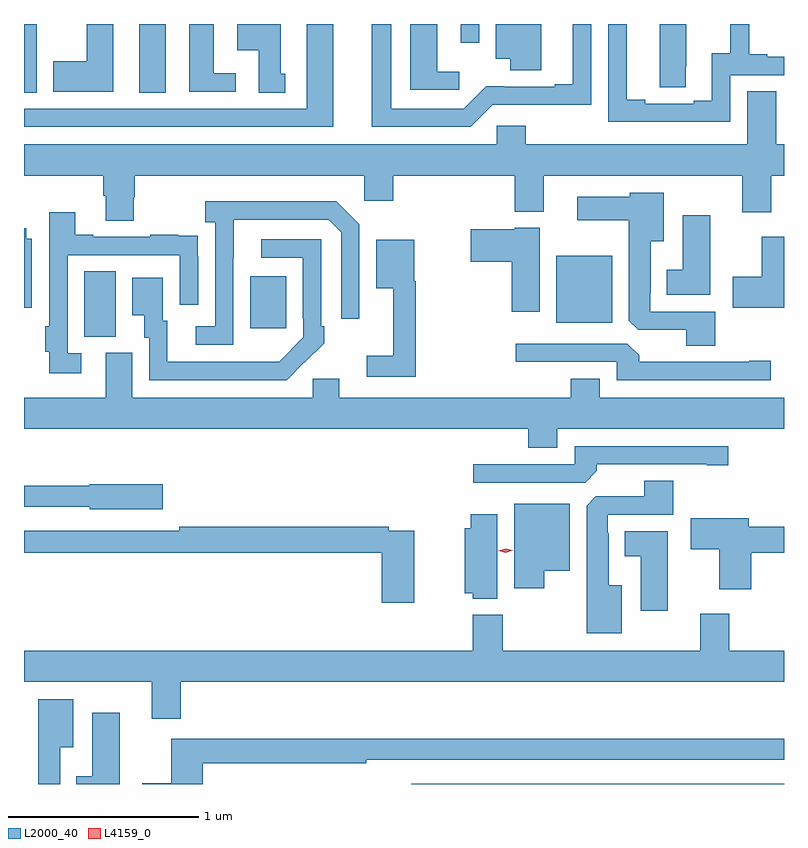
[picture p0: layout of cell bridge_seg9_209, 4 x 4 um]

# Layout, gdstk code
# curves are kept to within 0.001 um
import gdstk
lib = gdstk.Library(unit=1e-6, precision=1e-09)
def R(c, l, rs):  # rectangles x0, y0, x1, y1
    for r in rs: c.add(gdstk.rectangle(r[:2], r[2:], *l))
def P(c, l, *ps):  # polygons
    for p in ps: c.add(gdstk.Polygon(p, *l))
L2000_40 = (2000, 40)
L4159_0 = (4159, 0)

bridge_seg9_209 = lib.new_cell('bridge_seg9_209')
R(bridge_seg9_209, L2000_40, [(197.675,1198.546,199.638,1198.548), (195.956,1200.901,196.12,1201.244), (196.829,1200.945,197.017,1201.219), (198.44,1200.974,198.733,1201.327), (195.638,1202.185,195.706,1202.546), (196.244,1202.185,196.384,1202.546), (197.937,1202.448,198.033,1202.546)])
P(bridge_seg9_209, L2000_40, [(199.122,1202.32),(199.123,1202.32),(199.123,1202.546),(198.983,1202.546),(198.983,1202.212),(199.122,1202.212)],
  [(198.105,1202.121),(198.624,1202.12),(198.624,1202.546),(198.527,1202.546),(198.527,1202.23),(198.431,1202.23),(198.431,1202.217),(198.07,1202.218),(197.952,1202.1),(197.572,1202.1),(197.572,1202.546),(197.468,1202.546),(197.468,1202.004),(197.988,1202.004)],
  [(199.356,1202.277),(199.638,1202.277),(199.638,1202.373),(199.549,1202.373),(199.549,1202.386),(199.454,1202.386),(199.454,1202.546),(199.354,1202.546),(199.354,1202.393),(199.259,1202.393),(199.259,1202.142),(199.163,1202.142),(199.163,1202.127),(198.907,1202.127),(198.907,1202.147),(198.811,1202.147),(198.811,1202.546),(198.714,1202.546),(198.714,1202.031),(199.356,1202.031)],
  [(197.014,1202.283),(196.99,1202.283),(196.99,1202.546),(196.76,1202.546),(196.76,1202.408),(196.874,1202.408),(196.874,1202.185),(197.014,1202.185)],
  [(196.108,1202.546),(195.968,1202.546),(195.968,1202.349),(195.791,1202.349),(195.791,1202.189),(196.108,1202.189)],
  [(198.361,1202.546),(198.122,1202.546),(198.122,1202.363),(198.197,1202.363),(198.197,1202.302),(198.361,1202.302)],
  [(197.266,1202.546),(197.126,1202.546),(197.126,1202.1),(195.638,1202.1),(195.638,1202.004),(197.266,1202.004)],
  [(197.929,1202.296),(197.812,1202.296),(197.812,1202.546),(197.672,1202.546),(197.672,1202.199),(197.929,1202.199)],
  [(196.753,1202.286),(196.636,1202.286),(196.636,1202.546),(196.508,1202.546),(196.508,1202.19),(196.753,1202.19)],
  [(196.215,1201.635),(196.22,1201.635),(196.22,1201.748),(197.43,1201.748),(197.43,1201.617),(197.582,1201.617),(197.582,1201.748),(198.221,1201.748),(198.221,1201.559),(198.373,1201.559),(198.373,1201.748),(199.418,1201.748),(199.418,1201.554),(199.571,1201.554),(199.571,1201.748),(199.638,1201.748),(199.638,1201.912),(199.598,1201.912),(199.598,1202.192),(199.445,1202.192),(199.445,1201.912),(198.278,1201.912),(198.278,1202.01),(198.126,1202.01),(198.126,1201.912),(195.638,1201.912),(195.638,1201.748),(196.055,1201.748),(196.055,1201.642),(196.067,1201.642),(196.067,1201.51),(196.215,1201.51)],
  [(199.277,1201.032),(198.933,1201.032),(198.933,1201.129),(198.937,1201.129),(198.937,1201.403),(199.006,1201.403),(199.006,1201.657),(198.825,1201.657),(198.825,1201.636),(198.549,1201.636),(198.549,1201.514),(198.821,1201.514),(198.821,1200.985),(198.87,1200.936),(199.124,1200.936),(199.124,1200.853),(199.277,1200.853)],
  [(196.74,1201.315),(196.741,1201.515),(197.241,1201.515),(197.307,1201.449),(197.307,1200.996),(197.403,1200.996),(197.403,1201.491),(197.282,1201.612),(196.593,1201.612),(196.593,1201.502),(196.644,1201.502),(196.644,1200.954),(196.542,1200.954),(196.542,1200.858),(196.74,1200.858)],
  [(195.94,1200.813),(195.867,1200.813),(195.867,1201.329),(196.458,1201.329),(196.458,1201.068),(196.554,1201.068),(196.554,1201.322),(196.553,1201.322),(196.553,1201.431),(196.451,1201.431),(196.451,1201.438),(196.303,1201.438),(196.303,1201.425),(196.003,1201.425),(196.003,1201.438),(195.907,1201.438),(195.907,1201.555),(195.771,1201.555),(195.771,1200.956),(195.751,1200.956),(195.751,1200.82),(195.77,1200.82),(195.77,1200.708),(195.94,1200.708)],
  [(199.249,1201.54),(199.106,1201.54),(199.106,1201.252),(199.022,1201.252),(199.022,1201.121),(199.249,1201.121)],
  [(198.352,1201.474),(198.222,1201.474),(198.222,1201.465),(197.988,1201.465),(197.988,1201.295),(198.206,1201.295),(198.206,1201.032),(198.352,1201.032)],
  [(195.679,1201.417),(195.649,1201.417),(195.649,1201.471),(195.638,1201.471),(195.638,1201.052),(195.679,1201.052)],
  [(199.638,1201.426),(199.52,1201.426),(199.52,1201.215),(199.368,1201.215),(199.368,1201.052),(199.638,1201.052)],
  [(197.111,1200.763),(197.112,1200.762),(197.217,1200.867),(197.217,1200.955),(197.202,1200.955),(197.202,1201.413),(196.887,1201.413),(196.887,1201.317),(197.106,1201.317),(197.106,1200.997),(197.109,1200.997),(197.109,1200.897),(196.981,1200.769),(196.393,1200.768),(196.393,1200.984),(196.369,1200.984),(196.369,1201.21),(196.208,1201.21),(196.208,1201.013),(196.271,1201.013),(196.271,1200.894),(196.296,1200.894),(196.296,1200.672),(197.02,1200.672)],
  [(197.699,1201.193),(197.692,1201.193),(197.692,1201.411),(197.492,1201.411),(197.492,1201.154),(197.582,1201.154),(197.582,1200.799),(197.442,1200.799),(197.442,1200.69),(197.699,1200.69)],
  [(199.567,1200.773),(199.454,1200.773),(199.454,1200.768),(198.875,1200.768),(198.875,1200.802),(198.813,1200.864),(198.225,1200.864),(198.225,1200.768),(198.759,1200.768),(198.759,1200.672),(199.567,1200.672)],
  [(198.445,1200.416),(199.638,1200.416),(199.638,1200.58),(198.667,1200.58),(198.667,1200.679),(198.515,1200.679),(198.515,1200.58),(197.296,1200.58),(197.296,1200.678),(197.157,1200.678),(197.157,1200.58),(196.207,1200.58),(196.207,1200.816),(196.067,1200.816),(196.067,1200.58),(195.638,1200.58),(195.638,1200.416),(198.293,1200.416),(198.293,1200.317),(198.445,1200.317)],
  [(198.653,1200.194),(198.653,1200.228),(199.232,1200.228),(199.232,1200.223),(199.345,1200.223),(199.345,1200.324),(198.537,1200.324),(198.537,1200.228),(198.003,1200.228),(198.003,1200.132),(198.591,1200.132)],
  [(198.784,1199.593),(198.715,1199.593),(198.715,1199.867),(198.711,1199.867),(198.711,1199.964),(199.055,1199.964),(199.055,1200.143),(198.902,1200.143),(198.902,1200.06),(198.648,1200.06),(198.599,1200.011),(198.599,1199.339),(198.784,1199.339)],
  [(196.369,1200.123),(195.984,1200.123),(195.984,1200.115),(195.638,1200.115),(195.638,1200.006),(195.984,1200.006),(195.984,1199.993),(196.369,1199.993)],
  [(198.376,1199.669),(198.511,1199.669),(198.511,1200.022),(198.218,1200.022),(198.218,1199.577),(198.376,1199.577)],
  [(198.13,1199.965),(197.989,1199.965),(197.989,1199.893),(197.957,1199.893),(197.957,1199.549),(198,1199.549),(198,1199.522),(198.13,1199.522)],
  [(199.466,1199.764),(199.638,1199.764),(199.638,1199.9),(199.453,1199.9),(199.453,1199.944),(199.146,1199.944),(199.146,1199.782),(199.298,1199.782),(199.298,1199.571),(199.466,1199.571)],
  [(197.692,1199.88),(197.558,1199.88),(197.558,1199.9),(196.456,1199.9),(196.456,1199.88),(195.638,1199.88),(195.638,1199.764),(197.522,1199.764),(197.522,1199.499),(197.692,1199.499)],
  [(199.027,1199.875),(198.8,1199.875),(198.8,1199.744),(198.884,1199.744),(198.884,1199.457),(199.027,1199.457)],
  [(196.463,1199.084),(199.638,1199.084),(199.638,1199.248),(199.349,1199.248),(199.349,1199.443),(199.196,1199.443),(199.196,1199.248),(198.159,1199.248),(198.159,1199.437),(197.999,1199.437),(197.999,1199.248),(195.638,1199.248),(195.638,1199.084),(196.31,1199.084),(196.31,1198.89),(196.463,1198.89)],
  [(195.829,1198.739),(195.898,1198.739),(195.898,1198.993),(195.713,1198.993),(195.713,1198.546),(195.829,1198.546)],
  [(196.141,1198.921),(195.998,1198.921),(195.998,1198.588),(195.914,1198.588),(195.914,1198.546),(196.141,1198.546)],
  [(196.58,1198.654),(197.438,1198.654),(197.438,1198.674),(199.638,1198.674),(199.638,1198.783),(196.412,1198.783),(196.412,1198.551),(196.26,1198.551),(196.26,1198.546),(196.58,1198.546)])
P(bridge_seg9_209, L4159_0, [(198.174,1199.764),(198.135,1199.773),(198.135,1199.773),(198.135,1199.773),(198.173,1199.784),(198.211,1199.775),(198.211,1199.775),(198.211,1199.775)])

lib.write_gds('bridge_seg9_209.gds')
